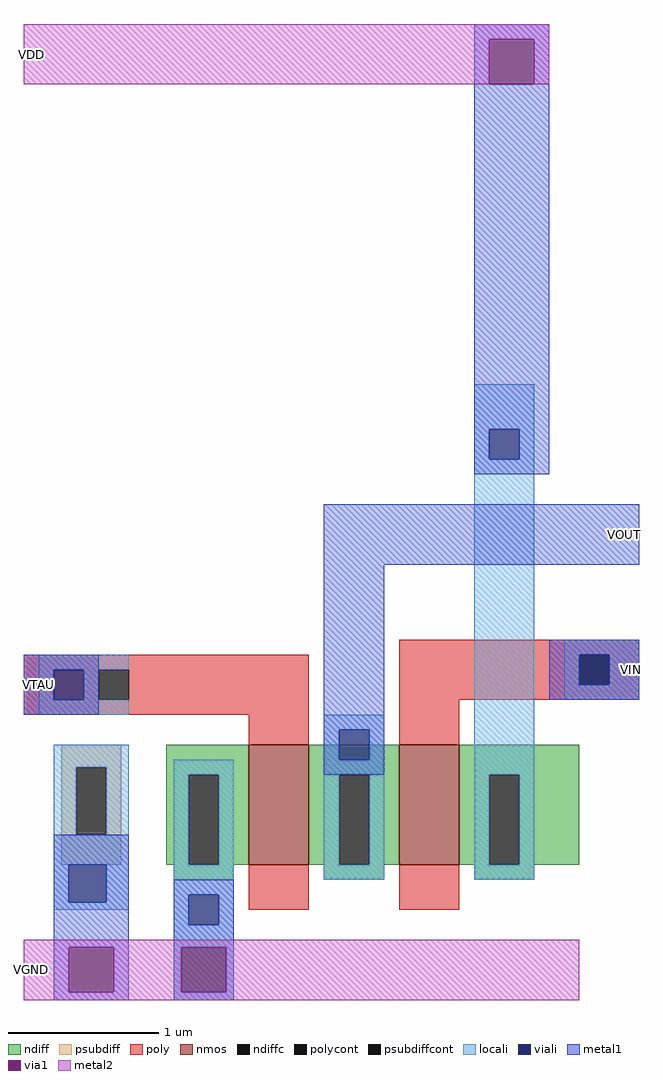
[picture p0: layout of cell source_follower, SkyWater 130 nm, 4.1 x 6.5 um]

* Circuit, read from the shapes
.subckt source_follower VDD VGND VTAU VOUT VIN
XM1 VOUT VTAU VGND VGND sky130_fd_pr__nfet_01v8 w=0.8 l=0.4
XM2 VDD VIN VOUT VGND sky130_fd_pr__nfet_01v8 w=0.8 l=0.4
.ends

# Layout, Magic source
magic
tech sky130A
<< nmos >>
rect 150 90 190 170
rect 250 90 290 170
<< ndiff >>
rect 95 150 150 170
rect 95 90 110 150
rect 130 90 150 150
rect 190 150 250 170
rect 190 90 210 150
rect 230 90 250 150
rect 290 150 370 170
rect 290 90 310 150
rect 330 90 370 150
rect 100 80 140 90
rect 200 80 240 90
rect 300 80 340 90
<< ndiffc >>
rect 110 90 130 150
rect 210 90 230 150
rect 310 90 330 150
<< psubdiff >>
rect 25 155 65 170
rect 25 110 35 155
rect 55 110 65 155
rect 25 90 65 110
<< psubdiffcont >>
rect 35 110 55 155
<< poly >>
rect 250 230 410 240
rect 0 220 190 230
rect 0 200 50 220
rect 70 200 190 220
rect 0 190 190 200
rect 150 170 190 190
rect 250 210 370 230
rect 390 210 410 230
rect 250 200 410 210
rect 250 170 290 200
rect 150 60 190 90
rect 250 60 290 90
<< polycont >>
rect 50 200 70 220
rect 370 210 390 230
<< locali >>
rect 300 380 340 410
rect 300 360 310 380
rect 330 360 340 380
rect 10 220 70 230
rect 10 200 20 220
rect 40 200 50 220
rect 10 190 70 200
rect 200 180 240 190
rect 20 155 70 170
rect 200 160 210 180
rect 230 160 240 180
rect 20 110 35 155
rect 55 110 70 155
rect 20 90 70 110
rect 20 65 30 90
rect 55 65 70 90
rect 20 60 70 65
rect 100 150 140 160
rect 100 90 110 150
rect 130 90 140 150
rect 100 70 140 90
rect 200 150 240 160
rect 200 90 210 150
rect 230 90 240 150
rect 200 80 240 90
rect 300 150 340 360
rect 360 230 410 240
rect 360 210 370 230
rect 390 210 410 230
rect 360 200 410 210
rect 300 90 310 150
rect 330 90 340 150
rect 300 80 340 90
rect 100 50 110 70
rect 130 50 140 70
rect 100 0 140 50
<< viali >>
rect 310 360 330 380
rect 20 200 40 220
rect 210 160 230 180
rect 30 65 55 90
rect 370 210 390 230
rect 110 50 130 70
<< metal1 >>
rect 300 640 350 650
rect 300 610 310 640
rect 340 610 350 640
rect 300 380 350 610
rect 300 360 310 380
rect 330 360 350 380
rect 300 350 350 360
rect 200 290 410 330
rect 0 220 50 230
rect 0 200 20 220
rect 40 200 50 220
rect 0 190 50 200
rect 200 180 240 290
rect 350 230 410 240
rect 350 210 370 230
rect 390 210 410 230
rect 350 200 410 210
rect 200 160 210 180
rect 230 160 240 180
rect 200 150 240 160
rect 20 90 70 110
rect 20 65 30 90
rect 55 65 70 90
rect 20 35 70 65
rect 20 5 30 35
rect 60 5 70 35
rect 20 0 70 5
rect 100 70 140 80
rect 100 50 110 70
rect 130 50 140 70
rect 100 35 140 50
rect 100 5 105 35
rect 135 5 140 35
rect 100 0 140 5
<< via1 >>
rect 310 610 340 640
rect 30 5 60 35
rect 105 5 135 35
<< metal2 >>
rect 0 640 350 650
rect 0 610 310 640
rect 340 610 350 640
rect 0 35 370 40
rect 0 5 30 35
rect 60 5 105 35
rect 135 5 370 35
rect 0 0 370 5
<< labels >>
rlabel metal2 0 610 10 650 3 VDD
port 1 e
rlabel metal2 0 0 10 40 3 VGND
port 2 e
rlabel metal1 0 190 20 230 1 VTAU
port 6 n
rlabel metal1 390 290 410 330 1 VOUT
port 7 n
rlabel metal1 400 200 410 240 7 VIN
port 8 w
<< end >>
